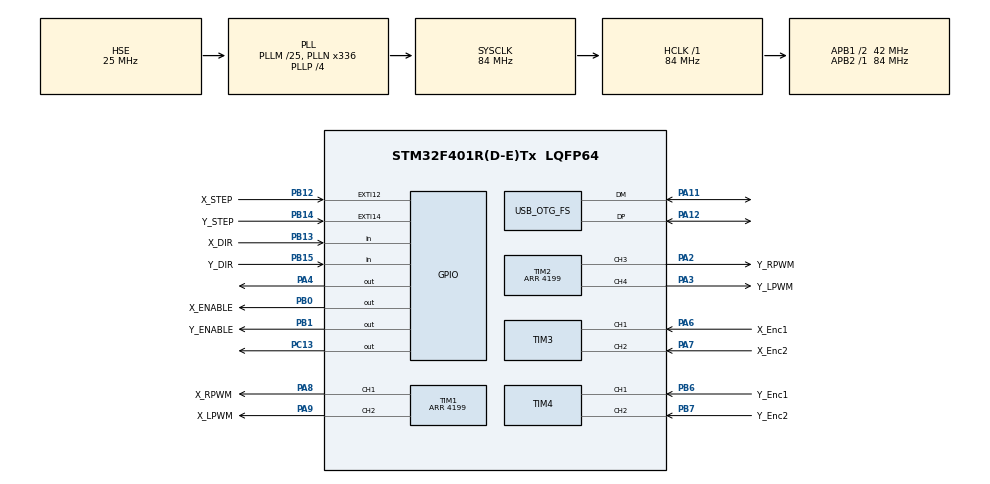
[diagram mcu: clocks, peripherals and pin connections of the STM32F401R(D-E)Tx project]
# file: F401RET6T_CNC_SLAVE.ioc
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Mcu.Family=STM32F4
Mcu.Name=STM32F401R(D-E)Tx
Mcu.Package=LQFP64
NVIC.EXTI15_10_IRQn=true\:0\:0\:false\:false\:true\:true\:true\:true
NVIC.OTG_FS_IRQn=true\:6\:0\:true\:false\:true\:true\:true\:true
NVIC.PriorityGroup=NVIC_PRIORITYGROUP_4
NVIC.TIM1_TRG_COM_TIM11_IRQn=true\:1\:0\:true\:false\:true\:true\:true\:true
PA11.Mode=Device_Only
PA11.Signal=USB_OTG_FS_DM
PA12.Mode=Device_Only
PA12.Signal=USB_OTG_FS_DP
PA2.GPIO_Label=Y_RPWM
PA2.Signal=S_TIM2_CH3
PA3.GPIO_Label=Y_LPWM
PA3.Signal=S_TIM2_CH4
PA4.Signal=GPIO_Output
PA6.GPIO_Label=X_Enc1
PA6.Signal=S_TIM3_CH1
PA7.GPIO_Label=X_Enc2
PA7.Signal=S_TIM3_CH2
PA8.GPIO_Label=X_RPWM
PA8.Signal=S_TIM1_CH1
PA9.GPIO_Label=X_LPWM
PA9.Signal=S_TIM1_CH2
PB0.GPIO_Label=X_ENABLE
PB0.Signal=GPIO_Output
PB1.GPIO_Label=Y_ENABLE
PB1.Signal=GPIO_Output
PB12.GPIO_Label=X_STEP
PB12.GPIO_PuPd=GPIO_PULLDOWN
PB12.Signal=GPXTI12
PB13.GPIO_Label=X_DIR
PB13.GPIO_PuPd=GPIO_PULLDOWN
PB13.Signal=GPIO_Input
PB14.GPIO_Label=Y_STEP
PB14.GPIO_PuPd=GPIO_PULLDOWN
PB14.Signal=GPXTI14
PB15.GPIO_Label=Y_DIR
PB15.GPIO_PuPd=GPIO_PULLDOWN
PB15.Signal=GPIO_Input
PB6.GPIO_Label=Y_Enc1
PB6.Signal=S_TIM4_CH1
PB7.GPIO_Label=Y_Enc2
PB7.Signal=S_TIM4_CH2
PC13-ANTI_TAMP.Signal=GPIO_Output
PH0\ -\ OSC_IN.Mode=HSE-External-Oscillator
PH0\ -\ OSC_IN.Signal=RCC_OSC_IN
PH1\ -\ OSC_OUT.Mode=HSE-External-Oscillator
PH1\ -\ OSC_OUT.Signal=RCC_OSC_OUT
ProjectManager.HeapSize=0x200
ProjectManager.StackSize=0x400
ProjectManager.TargetToolchain=STM32CubeIDE
RCC.48MHZClocksFreq_Value=48000000
RCC.AHBFreq_Value=84000000
RCC.APB1CLKDivider=RCC_HCLK_DIV2
RCC.APB1Freq_Value=42000000
RCC.APB1TimFreq_Value=84000000
RCC.APB2Freq_Value=84000000
RCC.APB2TimFreq_Value=84000000
RCC.CortexFreq_Value=84000000
RCC.HCLKFreq_Value=84000000
RCC.HSE_VALUE=25000000
RCC.HSI_VALUE=16000000
RCC.LSE_VALUE=32768
RCC.PLLM=25
RCC.PLLN=336
RCC.PLLP=RCC_PLLP_DIV4
RCC.PLLQ=7
RCC.SYSCLKFreq_VALUE=84000000
RCC.SYSCLKSource=RCC_SYSCLKSOURCE_PLLCLK
RCC.VCOOutputFreq_Value=336000000
SH.S_TIM1_CH1.0=TIM1_CH1,PWM Generation1 CH1
SH.S_TIM1_CH2.0=TIM1_CH2,PWM Generation2 CH2
SH.S_TIM2_CH3.0=TIM2_CH3,PWM Generation3 CH3
SH.S_TIM2_CH4.0=TIM2_CH4,PWM Generation4 CH4
SH.S_TIM3_CH1.0=TIM3_CH1,Encoder_Interface
SH.S_TIM3_CH2.0=TIM3_CH2,Encoder_Interface
SH.S_TIM4_CH1.0=TIM4_CH1,Encoder_Interface
SH.S_TIM4_CH2.0=TIM4_CH2,Encoder_Interface
TIM1.Channel-PWM\ Generation1\ CH1=TIM_CHANNEL_1
TIM1.Channel-PWM\ Generation2\ CH2=TIM_CHANNEL_2
TIM1.Period=4199
TIM11.Period=999
TIM11.Prescaler=83
TIM2.Channel-PWM\ Generation3\ CH3=TIM_CHANNEL_3
TIM2.Channel-PWM\ Generation4\ CH4=TIM_CHANNEL_4
TIM2.Period=4199
TIM3.EncoderMode=TIM_ENCODERMODE_TI12
TIM3.IC1Filter=3
TIM3.IC2Filter=3
TIM4.EncoderMode=TIM_ENCODERMODE_TI12
TIM4.IC1Filter=3
USB_OTG_FS.VirtualMode=Device_Only
VP_TIM11_VS_ClockSourceINT.Mode=Enable_Timer
board=custom

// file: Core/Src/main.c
/* USER CODE BEGIN Header */
/**
  ******************************************************************************
  * @file           : main.c
  * @brief          : Main program body
  ******************************************************************************
  * @attention
  *
  * Copyright (c) 2026 STMicroelectronics.
  * All rights reserved.
  *
  * This software is licensed under terms that can be found in the LICENSE file
  * in the root directory of this software component.
  * If no LICENSE file comes with this software, it is provided AS-IS.
  *
  ******************************************************************************
  */
/* USER CODE END Header */
#include "main.h"

TIM_HandleTypeDef htim1;
TIM_HandleTypeDef htim2;
TIM_HandleTypeDef htim3;
TIM_HandleTypeDef htim4;
TIM_HandleTypeDef htim11;

PCD_HandleTypeDef hpcd_USB_OTG_FS;

/* USER CODE BEGIN PV */
// ALARM AYARLARI
#define MAX_ERROR_STEPS 300    // Maksimum tolere edilebilir adım farkı (Bunu deneyerek bulacaksınız)
#define MAX_ERROR_TIME_MS 500  // Hatanın ne kadar süre kalmasına izin verilecek (0.5 saniye)

volatile uint16_t x_error_timer = 0;
volatile uint16_t y_error_timer = 0;
volatile uint8_t system_alarm = 0; // 1 olursa sistem kilitlenir

// X Ekseni Değişkenleri
volatile int32_t target_x = 0;
volatile int32_t current_x = 0;
float Kp_x = 125, Ki_x = 1.5, Kd_x = 0.75;
float integral_x = 0, prev_error_x = 0;

// Y Ekseni Değişkenleri
volatile int32_t target_y = 0;
volatile int32_t current_y = 0;
float Kp_y = 125, Ki_y = 1.5, Kd_y = 0.75;
float integral_y = 0, prev_error_y = 0;
/* USER CODE END PV */

void SystemClock_Config(void);
static void MX_GPIO_Init(void);
static void MX_TIM1_Init(void);
static void MX_TIM2_Init(void);
static void MX_TIM3_Init(void);
static void MX_TIM4_Init(void);
static void MX_USB_OTG_FS_PCD_Init(void);
static void MX_TIM11_Init(void);

int main(void)
{

  /* MCU Configuration--------------------------------------------------------*/

  /* Reset of all peripherals, Initializes the Flash interface and the Systick. */
  HAL_Init();

  /* Configure the system clock */
  SystemClock_Config();

  /* Initialize all configured peripherals */
  MX_GPIO_Init();
  MX_TIM1_Init();
  MX_TIM2_Init();
  MX_TIM3_Init();
  MX_TIM4_Init();
  MX_USB_OTG_FS_PCD_Init();
  MX_TIM11_Init();
  /* USER CODE BEGIN 2 */
  // Encoder (Optik Sensör) Timer'larını Başlat
  HAL_TIM_Encoder_Start(&htim3, TIM_CHANNEL_ALL); // X Encoder
  HAL_TIM_Encoder_Start(&htim4, TIM_CHANNEL_ALL); // Y Encoder

  // PWM Timer'larını Başlat (BTS7960 Sinyalleri)
  HAL_TIM_PWM_Start(&htim1, TIM_CHANNEL_1); // X_RPWM
  HAL_TIM_PWM_Start(&htim1, TIM_CHANNEL_2); // X_LPWM
  HAL_TIM_PWM_Start(&htim2, TIM_CHANNEL_3); // Y_RPWM
  HAL_TIM_PWM_Start(&htim2, TIM_CHANNEL_4); // Y_LPWM

  // PID (1 kHz) Timer'ını Kesme ile Birlikte Başlat
  HAL_TIM_Base_Start_IT(&htim11);

  // BTS7960 Enable Pinlerini Aktif Et (Motorlara güç ver)
  HAL_GPIO_WritePin(GPIOB, GPIO_PIN_0, GPIO_PIN_SET); // X_ENABLE
  HAL_GPIO_WritePin(GPIOB, GPIO_PIN_1, GPIO_PIN_SET); // Y_ENABLE
  /* USER CODE END 2 */

  /* Infinite loop */
  while (1)
  {

  }
}

void SystemClock_Config(void)
{
  RCC_OscInitTypeDef RCC_OscInitStruct = {0};
  RCC_ClkInitTypeDef RCC_ClkInitStruct = {0};

  /** Configure the main internal regulator output voltage
  */
  __HAL_RCC_PWR_CLK_ENABLE();
  __HAL_PWR_VOLTAGESCALING_CONFIG(PWR_REGULATOR_VOLTAGE_SCALE2);

  /** Initializes the RCC Oscillators according to the specified parameters
  * in the RCC_OscInitTypeDef structure.
  */
  RCC_OscInitStruct.OscillatorType = RCC_OSCILLATORTYPE_HSE;
  RCC_OscInitStruct.HSEState = RCC_HSE_ON;
  RCC_OscInitStruct.PLL.PLLState = RCC_PLL_ON;
  RCC_OscInitStruct.PLL.PLLSource = RCC_PLLSOURCE_HSE;
  RCC_OscInitStruct.PLL.PLLM = 25;
  RCC_OscInitStruct.PLL.PLLN = 336;
  RCC_OscInitStruct.PLL.PLLP = RCC_PLLP_DIV4;
  RCC_OscInitStruct.PLL.PLLQ = 7;
  if (HAL_RCC_OscConfig(&RCC_OscInitStruct) != HAL_OK)
  {
    Error_Handler();
  }

  /** Initializes the CPU, AHB and APB buses clocks
  */
  RCC_ClkInitStruct.ClockType = RCC_CLOCKTYPE_HCLK|RCC_CLOCKTYPE_SYSCLK
                              |RCC_CLOCKTYPE_PCLK1|RCC_CLOCKTYPE_PCLK2;
  RCC_ClkInitStruct.SYSCLKSource = RCC_SYSCLKSOURCE_PLLCLK;
  RCC_ClkInitStruct.AHBCLKDivider = RCC_SYSCLK_DIV1;
  RCC_ClkInitStruct.APB1CLKDivider = RCC_HCLK_DIV2;
  RCC_ClkInitStruct.APB2CLKDivider = RCC_HCLK_DIV1;

  if (HAL_RCC_ClockConfig(&RCC_ClkInitStruct, FLASH_LATENCY_2) != HAL_OK)
  {
    Error_Handler();
  }
}

static void MX_TIM1_Init(void)
{

  TIM_MasterConfigTypeDef sMasterConfig = {0};
  TIM_OC_InitTypeDef sConfigOC = {0};
  TIM_BreakDeadTimeConfigTypeDef sBreakDeadTimeConfig = {0};

  htim1.Instance = TIM1;
  htim1.Init.Prescaler = 0;
  htim1.Init.CounterMode = TIM_COUNTERMODE_UP;
  htim1.Init.Period = 4199;
  htim1.Init.ClockDivision = TIM_CLOCKDIVISION_DIV1;
  htim1.Init.RepetitionCounter = 0;
  htim1.Init.AutoReloadPreload = TIM_AUTORELOAD_PRELOAD_DISABLE;
  if (HAL_TIM_PWM_Init(&htim1) != HAL_OK)
  {
    Error_Handler();
  }
  sMasterConfig.MasterOutputTrigger = TIM_TRGO_RESET;
  sMasterConfig.MasterSlaveMode = TIM_MASTERSLAVEMODE_DISABLE;
  if (HAL_TIMEx_MasterConfigSynchronization(&htim1, &sMasterConfig) != HAL_OK)
  {
    Error_Handler();
  }
  sConfigOC.OCMode = TIM_OCMODE_PWM1;
  sConfigOC.Pulse = 0;
  sConfigOC.OCPolarity = TIM_OCPOLARITY_HIGH;
  sConfigOC.OCNPolarity = TIM_OCNPOLARITY_HIGH;
  sConfigOC.OCFastMode = TIM_OCFAST_DISABLE;
  sConfigOC.OCIdleState = TIM_OCIDLESTATE_RESET;
  sConfigOC.OCNIdleState = TIM_OCNIDLESTATE_RESET;
  if (HAL_TIM_PWM_ConfigChannel(&htim1, &sConfigOC, TIM_CHANNEL_1) != HAL_OK)
  {
    Error_Handler();
  }
  if (HAL_TIM_PWM_ConfigChannel(&htim1, &sConfigOC, TIM_CHANNEL_2) != HAL_OK)
  {
    Error_Handler();
  }
  sBreakDeadTimeConfig.OffStateRunMode = TIM_OSSR_DISABLE;
  sBreakDeadTimeConfig.OffStateIDLEMode = TIM_OSSI_DISABLE;
  sBreakDeadTimeConfig.LockLevel = TIM_LOCKLEVEL_OFF;
  sBreakDeadTimeConfig.DeadTime = 0;
  sBreakDeadTimeConfig.BreakState = TIM_BREAK_DISABLE;
  sBreakDeadTimeConfig.BreakPolarity = TIM_BREAKPOLARITY_HIGH;
  sBreakDeadTimeConfig.AutomaticOutput = TIM_AUTOMATICOUTPUT_DISABLE;
  if (HAL_TIMEx_ConfigBreakDeadTime(&htim1, &sBreakDeadTimeConfig) != HAL_OK)
  {
    Error_Handler();
  }
  HAL_TIM_MspPostInit(&htim1);

}

static void MX_TIM2_Init(void)
{

  TIM_MasterConfigTypeDef sMasterConfig = {0};
  TIM_OC_InitTypeDef sConfigOC = {0};

  htim2.Instance = TIM2;
  htim2.Init.Prescaler = 0;
  htim2.Init.CounterMode = TIM_COUNTERMODE_UP;
  htim2.Init.Period = 4199;
  htim2.Init.ClockDivision = TIM_CLOCKDIVISION_DIV1;
  htim2.Init.AutoReloadPreload = TIM_AUTORELOAD_PRELOAD_DISABLE;
  if (HAL_TIM_PWM_Init(&htim2) != HAL_OK)
  {
    Error_Handler();
  }
  sMasterConfig.MasterOutputTrigger = TIM_TRGO_RESET;
  sMasterConfig.MasterSlaveMode = TIM_MASTERSLAVEMODE_DISABLE;
  if (HAL_TIMEx_MasterConfigSynchronization(&htim2, &sMasterConfig) != HAL_OK)
  {
    Error_Handler();
  }
  sConfigOC.OCMode = TIM_OCMODE_PWM1;
  sConfigOC.Pulse = 0;
  sConfigOC.OCPolarity = TIM_OCPOLARITY_HIGH;
  sConfigOC.OCFastMode = TIM_OCFAST_DISABLE;
  if (HAL_TIM_PWM_ConfigChannel(&htim2, &sConfigOC, TIM_CHANNEL_3) != HAL_OK)
  {
    Error_Handler();
  }
  if (HAL_TIM_PWM_ConfigChannel(&htim2, &sConfigOC, TIM_CHANNEL_4) != HAL_OK)
  {
    Error_Handler();
  }
  HAL_TIM_MspPostInit(&htim2);

}

static void MX_TIM3_Init(void)
{

  TIM_Encoder_InitTypeDef sConfig = {0};
  TIM_MasterConfigTypeDef sMasterConfig = {0};

  htim3.Instance = TIM3;
  htim3.Init.Prescaler = 0;
  htim3.Init.CounterMode = TIM_COUNTERMODE_UP;
  htim3.Init.Period = 65535;
  htim3.Init.ClockDivision = TIM_CLOCKDIVISION_DIV1;
  htim3.Init.AutoReloadPreload = TIM_AUTORELOAD_PRELOAD_DISABLE;
  sConfig.EncoderMode = TIM_ENCODERMODE_TI12;
  sConfig.IC1Polarity = TIM_ICPOLARITY_RISING;
  sConfig.IC1Selection = TIM_ICSELECTION_DIRECTTI;
  sConfig.IC1Prescaler = TIM_ICPSC_DIV1;
  sConfig.IC1Filter = 3;
  sConfig.IC2Polarity = TIM_ICPOLARITY_RISING;
  sConfig.IC2Selection = TIM_ICSELECTION_DIRECTTI;
  sConfig.IC2Prescaler = TIM_ICPSC_DIV1;
  sConfig.IC2Filter = 3;
  if (HAL_TIM_Encoder_Init(&htim3, &sConfig) != HAL_OK)
  {
    Error_Handler();
  }
  sMasterConfig.MasterOutputTrigger = TIM_TRGO_RESET;
  sMasterConfig.MasterSlaveMode = TIM_MASTERSLAVEMODE_DISABLE;
  if (HAL_TIMEx_MasterConfigSynchronization(&htim3, &sMasterConfig) != HAL_OK)
  {
    Error_Handler();
  }

}

static void MX_TIM4_Init(void)
{

  TIM_Encoder_InitTypeDef sConfig = {0};
  TIM_MasterConfigTypeDef sMasterConfig = {0};

  htim4.Instance = TIM4;
  htim4.Init.Prescaler = 0;
  htim4.Init.CounterMode = TIM_COUNTERMODE_UP;
  htim4.Init.Period = 65535;
  htim4.Init.ClockDivision = TIM_CLOCKDIVISION_DIV1;
  htim4.Init.AutoReloadPreload = TIM_AUTORELOAD_PRELOAD_DISABLE;
  sConfig.EncoderMode = TIM_ENCODERMODE_TI12;
  sConfig.IC1Polarity = TIM_ICPOLARITY_RISING;
  sConfig.IC1Selection = TIM_ICSELECTION_DIRECTTI;
  sConfig.IC1Prescaler = TIM_ICPSC_DIV1;
  sConfig.IC1Filter = 3;
  sConfig.IC2Polarity = TIM_ICPOLARITY_RISING;
  sConfig.IC2Selection = TIM_ICSELECTION_DIRECTTI;
  sConfig.IC2Prescaler = TIM_ICPSC_DIV1;
  sConfig.IC2Filter = 0;
  if (HAL_TIM_Encoder_Init(&htim4, &sConfig) != HAL_OK)
  {
    Error_Handler();
  }
  sMasterConfig.MasterOutputTrigger = TIM_TRGO_RESET;
  sMasterConfig.MasterSlaveMode = TIM_MASTERSLAVEMODE_DISABLE;
  if (HAL_TIMEx_MasterConfigSynchronization(&htim4, &sMasterConfig) != HAL_OK)
  {
    Error_Handler();
  }

}

static void MX_TIM11_Init(void)
{

  htim11.Instance = TIM11;
  htim11.Init.Prescaler = 83;
  htim11.Init.CounterMode = TIM_COUNTERMODE_UP;
  htim11.Init.Period = 999;
  htim11.Init.ClockDivision = TIM_CLOCKDIVISION_DIV1;
  htim11.Init.AutoReloadPreload = TIM_AUTORELOAD_PRELOAD_DISABLE;
  if (HAL_TIM_Base_Init(&htim11) != HAL_OK)
  {
    Error_Handler();
  }

}

static void MX_USB_OTG_FS_PCD_Init(void)
{

  hpcd_USB_OTG_FS.Instance = USB_OTG_FS;
  hpcd_USB_OTG_FS.Init.dev_endpoints = 4;
  hpcd_USB_OTG_FS.Init.speed = PCD_SPEED_FULL;
  hpcd_USB_OTG_FS.Init.dma_enable = DISABLE;
  hpcd_USB_OTG_FS.Init.phy_itface = PCD_PHY_EMBEDDED;
  hpcd_USB_OTG_FS.Init.Sof_enable = DISABLE;
  hpcd_USB_OTG_FS.Init.low_power_enable = DISABLE;
  hpcd_USB_OTG_FS.Init.lpm_enable = DISABLE;
  hpcd_USB_OTG_FS.Init.vbus_sensing_enable = DISABLE;
  hpcd_USB_OTG_FS.Init.use_dedicated_ep1 = DISABLE;
  if (HAL_PCD_Init(&hpcd_USB_OTG_FS) != HAL_OK)
  {
    Error_Handler();
  }

}

static void MX_GPIO_Init(void)
{
  GPIO_InitTypeDef GPIO_InitStruct = {0};

  /* GPIO Ports Clock Enable */
  __HAL_RCC_GPIOC_CLK_ENABLE();
  __HAL_RCC_GPIOH_CLK_ENABLE();
  __HAL_RCC_GPIOA_CLK_ENABLE();
  __HAL_RCC_GPIOB_CLK_ENABLE();

  /*Configure GPIO pin Output Level */
  HAL_GPIO_WritePin(GPIOC, GPIO_PIN_13, GPIO_PIN_SET);

  /*Configure GPIO pin Output Level */
  HAL_GPIO_WritePin(GPIOA, GPIO_PIN_4, GPIO_PIN_RESET);

  /*Configure GPIO pin Output Level */
  HAL_GPIO_WritePin(GPIOB, X_ENABLE_Pin|Y_ENABLE_Pin, GPIO_PIN_RESET);

  /*Configure GPIO pin : PC13 */
  GPIO_InitStruct.Pin = GPIO_PIN_13;
  GPIO_InitStruct.Mode = GPIO_MODE_OUTPUT_PP;
  GPIO_InitStruct.Pull = GPIO_NOPULL;
  GPIO_InitStruct.Speed = GPIO_SPEED_FREQ_LOW;
  HAL_GPIO_Init(GPIOC, &GPIO_InitStruct);

  /*Configure GPIO pin : PA4 */
  GPIO_InitStruct.Pin = GPIO_PIN_4;
  GPIO_InitStruct.Mode = GPIO_MODE_OUTPUT_PP;
  GPIO_InitStruct.Pull = GPIO_NOPULL;
  GPIO_InitStruct.Speed = GPIO_SPEED_FREQ_LOW;
  HAL_GPIO_Init(GPIOA, &GPIO_InitStruct);

  /*Configure GPIO pins : X_ENABLE_Pin Y_ENABLE_Pin */
  GPIO_InitStruct.Pin = X_ENABLE_Pin|Y_ENABLE_Pin;
  GPIO_InitStruct.Mode = GPIO_MODE_OUTPUT_PP;
  GPIO_InitStruct.Pull = GPIO_NOPULL;
  GPIO_InitStruct.Speed = GPIO_SPEED_FREQ_LOW;
  HAL_GPIO_Init(GPIOB, &GPIO_InitStruct);

  /*Configure GPIO pins : X_STEP_Pin Y_STEP_Pin */
  GPIO_InitStruct.Pin = X_STEP_Pin|Y_STEP_Pin;
  GPIO_InitStruct.Mode = GPIO_MODE_IT_RISING;
  GPIO_InitStruct.Pull = GPIO_PULLDOWN;
  HAL_GPIO_Init(GPIOB, &GPIO_InitStruct);

  /*Configure GPIO pins : X_DIR_Pin Y_DIR_Pin */
  GPIO_InitStruct.Pin = X_DIR_Pin|Y_DIR_Pin;
  GPIO_InitStruct.Mode = GPIO_MODE_INPUT;
  GPIO_InitStruct.Pull = GPIO_PULLDOWN;
  HAL_GPIO_Init(GPIOB, &GPIO_InitStruct);

  /* EXTI interrupt init*/
  HAL_NVIC_SetPriority(EXTI15_10_IRQn, 0, 0);
  HAL_NVIC_EnableIRQ(EXTI15_10_IRQn);

}

/* USER CODE BEGIN 4 */
/* USER CODE BEGIN 4 */

// =========================================================================
// 1. MASTER KARTTAN GELEN ADIMLARI YAKALAMA (EXTI - STEP/DIR OKUMA)
// =========================================================================
void HAL_GPIO_EXTI_Callback(uint16_t GPIO_Pin)
{
  // X Ekseni Step Sinyali (PB12)
  if(GPIO_Pin == GPIO_PIN_12)
  {
    if(HAL_GPIO_ReadPin(GPIOB, GPIO_PIN_13) == GPIO_PIN_SET) {
        target_x++;
    } else {
        target_x--;
    }
  }

  // Y Ekseni Step Sinyali (PB14)
  else if(GPIO_Pin == GPIO_PIN_14)
  {
    if(HAL_GPIO_ReadPin(GPIOB, GPIO_PIN_15) == GPIO_PIN_SET) {
        target_y++;
    } else {
        target_y--;
    }
  }
}

// =========================================================================
// 2. MOTORLARI SÜREN PID DÖNGÜSÜ VE ALARM (1 KHz TIMER KESMESİ)
// =========================================================================
void HAL_TIM_PeriodElapsedCallback(TIM_HandleTypeDef *htim)
{
  if(htim->Instance == TIM11)
  {
    // --- ALARM DURUMU KONTROLÜ (Acil Durum Stop) ---
    if(system_alarm == 1)
    {
       __HAL_TIM_SET_COMPARE(&htim1, TIM_CHANNEL_1, 0);
       __HAL_TIM_SET_COMPARE(&htim1, TIM_CHANNEL_2, 0);
       __HAL_TIM_SET_COMPARE(&htim2, TIM_CHANNEL_3, 0);
       __HAL_TIM_SET_COMPARE(&htim2, TIM_CHANNEL_4, 0);

       HAL_GPIO_WritePin(GPIOB, GPIO_PIN_0, GPIO_PIN_RESET);
       HAL_GPIO_WritePin(GPIOB, GPIO_PIN_1, GPIO_PIN_RESET);

       HAL_GPIO_WritePin(GPIOC, GPIO_PIN_13, GPIO_PIN_RESET); // F401 Dahili LED (Arıza Göstergesi)
       HAL_GPIO_WritePin(GPIOA, GPIO_PIN_4, GPIO_PIN_SET);

       return; // Sistemi kilitle, aşağıya geçme!
    }

    // --- X EKSENİ KONTROLÜ ---
    static uint16_t last_timer_x = 0;
    uint16_t current_timer_x = __HAL_TIM_GET_COUNTER(&htim3);
    int16_t delta_x = (int16_t)(current_timer_x - last_timer_x);
    last_timer_x = current_timer_x;
    current_x += delta_x;

    int32_t error_x = target_x - current_x;

    // X Alarm Kontrolü
    if(error_x > MAX_ERROR_STEPS || error_x < -MAX_ERROR_STEPS) {
        x_error_timer++;
    } else {
        x_error_timer = 0;
    }
    if(x_error_timer > MAX_ERROR_TIME_MS) {
        system_alarm = 1;
    }

    // X PID Matematiği
    integral_x += error_x;
    if(integral_x > 5000) integral_x = 5000;
    if(integral_x < -5000) integral_x = -5000;

    float derivative_x = error_x - prev_error_x;
    float output_x = (Kp_x * error_x) + (Ki_x * integral_x) + (Kd_x * derivative_x);
    prev_error_x = error_x;

    int32_t pwm_x = (int32_t)output_x;
    if(pwm_x > 4199) pwm_x = 4199;
    if(pwm_x < -4199) pwm_x = -4199;

    if(pwm_x > 0) {
      __HAL_TIM_SET_COMPARE(&htim1, TIM_CHANNEL_1, pwm_x);
      __HAL_TIM_SET_COMPARE(&htim1, TIM_CHANNEL_2, 0);
    } else if(pwm_x < 0) {
      __HAL_TIM_SET_COMPARE(&htim1, TIM_CHANNEL_1, 0);
      __HAL_TIM_SET_COMPARE(&htim1, TIM_CHANNEL_2, -pwm_x);
    } else {
      __HAL_TIM_SET_COMPARE(&htim1, TIM_CHANNEL_1, 0);
      __HAL_TIM_SET_COMPARE(&htim1, TIM_CHANNEL_2, 0);
    }

    // --- Y EKSENİ KONTROLÜ ---
    static uint16_t last_timer_y = 0;
    uint16_t current_timer_y = __HAL_TIM_GET_COUNTER(&htim4);
    int16_t delta_y = (int16_t)(current_timer_y - last_timer_y);
    last_timer_y = current_timer_y;
    current_y += delta_y;

    int32_t error_y = target_y - current_y;

    // Y Alarm Kontrolü
    if(error_y > MAX_ERROR_STEPS || error_y < -MAX_ERROR_STEPS) {
        y_error_timer++;
    } else {
        y_error_timer = 0;
    }
    if(y_error_timer > MAX_ERROR_TIME_MS) {
        system_alarm = 1;
    }

    // Y PID Matematiği
    integral_y += error_y;
    if(integral_y > 5000) integral_y = 5000;
    if(integral_y < -5000) integral_y = -5000;

    float derivative_y = error_y - prev_error_y;
    float output_y = (Kp_y * error_y) + (Ki_y * integral_y) + (Kd_y * derivative_y);
    prev_error_y = error_y;

    int32_t pwm_y = (int32_t)output_y;
    if(pwm_y > 4199) pwm_y = 4199;
    if(pwm_y < -4199) pwm_y = -4199;

    if(pwm_y > 0) {
      __HAL_TIM_SET_COMPARE(&htim2, TIM_CHANNEL_3, pwm_y);
      __HAL_TIM_SET_COMPARE(&htim2, TIM_CHANNEL_4, 0);
    } else if(pwm_y < 0) {
      __HAL_TIM_SET_COMPARE(&htim2, TIM_CHANNEL_3, 0);
      __HAL_TIM_SET_COMPARE(&htim2, TIM_CHANNEL_4, -pwm_y);
    } else {
      __HAL_TIM_SET_COMPARE(&htim2, TIM_CHANNEL_3, 0);
      __HAL_TIM_SET_COMPARE(&htim2, TIM_CHANNEL_4, 0);
    }
  }
}

/* USER CODE END 4 */

void Error_Handler(void)
{
  __disable_irq();
  while (1)
  {
  }
}
